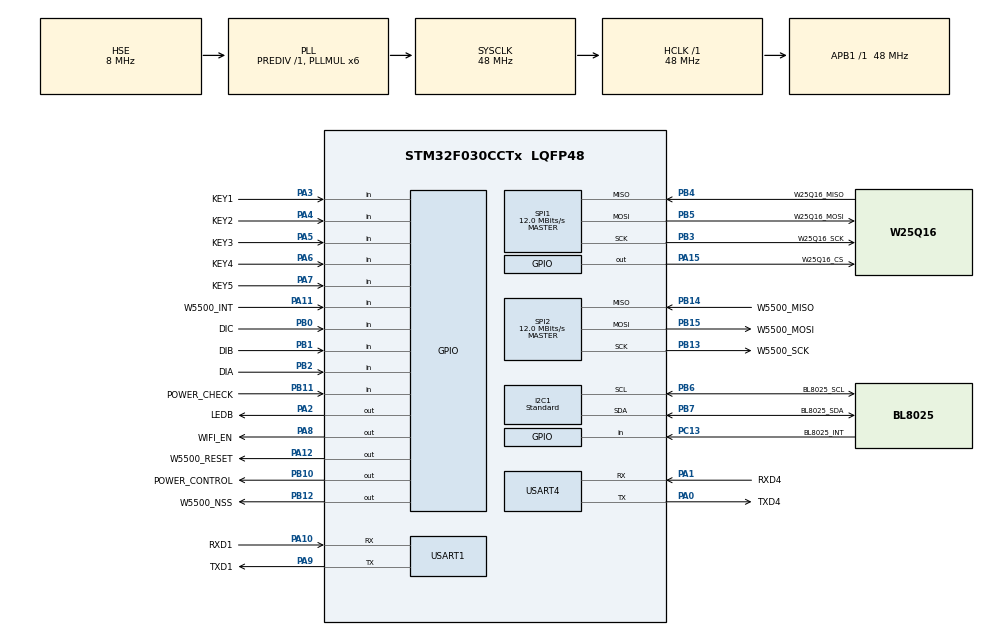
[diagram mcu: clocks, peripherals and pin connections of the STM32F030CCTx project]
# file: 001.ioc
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FREERTOS.INCLUDE_xTaskGetHandle=1
FREERTOS.Mutexes01=AppPrintfMutex,Dynamic,NULL;ReadWriteRegHoldingMutex,Dynamic,NULL;PendingCachePointsMutex,Dynamic,NULL;W25q64Mutex,Dynamic,NULL
FREERTOS.Queues01=netBridgeModbusQueue,8,uint16_t,0,Dynamic,NULL,NULL;wifiSendQueue,16,uint16_t,0,Dynamic,NULL,NULL;w5500SendQueue,16,uint16_t,0,Dynamic,NULL,NULL
FREERTOS.Tasks01=defaultTask,8,256,StartDefaultTask,Default,NULL,Dynamic,NULL,NULL
FREERTOS.configMAX_TASK_NAME_LEN=32
FREERTOS.configMINIMAL_STACK_SIZE=128
FREERTOS.configTIMER_TASK_STACK_DEPTH=128
FREERTOS.configTOTAL_HEAP_SIZE=15360
I2C1.Analog_Filter=I2C_ANALOGFILTER_DISABLE
I2C1.I2C_Speed_Mode=I2C_Standard
I2C1.OwnAddress=0x32
I2C1.Timing=0x00101D2D
Mcu.Family=STM32F0
Mcu.Name=STM32F030CCTx
Mcu.Package=LQFP48
NVIC.TIM6_IRQn=true\:3\:0\:false\:false\:true\:true\:true\:true\:true
NVIC.USART3_6_IRQn=true\:3\:0\:false\:false\:true\:true\:true\:true\:true
PA0.GPIO_Label=TXD4
PA0.Mode=Asynchronous
PA0.Signal=USART4_TX
PA1.GPIO_Label=RXD4
PA1.Mode=Asynchronous
PA1.Signal=USART4_RX
PA10.GPIO_Label=RXD1
PA10.Mode=Asynchronous
PA10.Signal=USART1_RX
PA11.GPIO_Label=W5500_INT
PA11.Signal=GPIO_Input
PA12.GPIO_Label=W5500_RESET
PA12.PinState=GPIO_PIN_SET
PA12.Signal=GPIO_Output
PA13.Mode=Serial_Wire
PA13.Signal=SYS_SWDIO
PA14.Mode=Serial_Wire
PA14.Signal=SYS_SWCLK
PA15.GPIO_Label=W25Q16_CS
PA15.GPIO_PuPd=GPIO_NOPULL
PA15.GPIO_Speed=GPIO_SPEED_FREQ_HIGH
PA15.PinState=GPIO_PIN_SET
PA15.Signal=GPIO_Output
PA2.GPIO_Label=LEDB
PA2.PinState=GPIO_PIN_SET
PA2.Signal=GPIO_Output
PA3.GPIO_Label=KEY1
PA3.Signal=GPIO_Input
PA4.GPIO_Label=KEY2
PA4.Signal=GPIO_Input
PA5.GPIO_Label=KEY3
PA5.Signal=GPIO_Input
PA6.GPIO_Label=KEY4
PA6.Signal=GPIO_Input
PA7.GPIO_Label=KEY5
PA7.Signal=GPIO_Input
PA8.GPIO_Label=WIFI_EN
PA8.Signal=GPIO_Output
PA9.GPIO_Label=TXD1
PA9.Mode=Asynchronous
PA9.Signal=USART1_TX
PB0.GPIO_Label=DIC
PB0.Signal=GPIO_Input
PB1.GPIO_Label=DIB
PB1.Signal=GPIO_Input
PB10.GPIO_Label=POWER_CONTROL
PB10.GPIO_PuPd=GPIO_PULLUP
PB10.PinState=GPIO_PIN_SET
PB10.Signal=GPIO_Output
PB11.GPIO_Label=POWER_CHECK
PB11.Signal=GPIO_Input
PB12.GPIO_Label=W5500_NSS
PB12.PinState=GPIO_PIN_SET
PB12.Signal=GPIO_Output
PB13.GPIO_Label=W5500_SCK
PB13.Mode=Full_Duplex_Master
PB13.Signal=SPI2_SCK
PB14.GPIO_Label=W5500_MISO
PB14.Mode=Full_Duplex_Master
PB14.Signal=SPI2_MISO
PB15.GPIO_Label=W5500_MOSI
PB15.Mode=Full_Duplex_Master
PB15.Signal=SPI2_MOSI
PB2.GPIO_Label=DIA
PB2.Signal=GPIO_Input
PB3.GPIO_Label=W25Q16_SCK
PB3.Mode=Full_Duplex_Master
PB3.Signal=SPI1_SCK
PB4.GPIO_Label=W25Q16_MISO
PB4.Mode=Full_Duplex_Master
PB4.Signal=SPI1_MISO
PB5.GPIO_Label=W25Q16_MOSI
PB5.Mode=Full_Duplex_Master
PB5.Signal=SPI1_MOSI
PB6.GPIO_Label=BL8025_SCL
PB6.GPIO_Pu=GPIO_PULLUP
PB6.Mode=I2C
PB6.Signal=I2C1_SCL
PB7.GPIO_Label=BL8025_SDA
PB7.GPIO_Pu=GPIO_PULLUP
PB7.Mode=I2C
PB7.Signal=I2C1_SDA
PC13.GPIO_Label=BL8025_INT
PC13.GPIO_PuPd=GPIO_NOPULL
PC13.Signal=GPIO_Input
PF0-OSC_IN.Mode=HSE-External-Oscillator
PF0-OSC_IN.Signal=RCC_OSC_IN
PF1-OSC_OUT.Mode=HSE-External-Oscillator
PF1-OSC_OUT.Signal=RCC_OSC_OUT
ProjectManager.HeapSize=0x200
ProjectManager.StackSize=0x400
ProjectManager.TargetToolchain=MDK-ARM V5.32
RCC.AHBFreq_Value=48000000
RCC.APB1Freq_Value=48000000
RCC.APB1TimFreq_Value=48000000
RCC.HCLKFreq_Value=48000000
RCC.PLLMUL=RCC_PLL_MUL6
RCC.PLLSourceVirtual=RCC_PLLSOURCE_HSE
RCC.SYSCLKFreq_VALUE=48000000
RCC.SYSCLKSource=RCC_SYSCLKSOURCE_PLLCLK
SPI1.BaudRatePrescaler=SPI_BAUDRATEPRESCALER_4
SPI1.CLKPhase=SPI_PHASE_2EDGE
SPI1.CLKPolarity=SPI_POLARITY_HIGH
SPI1.CalculateBaudRate=12.0 MBits/s
SPI1.DataSize=SPI_DATASIZE_8BIT
SPI1.Direction=SPI_DIRECTION_2LINES
SPI1.Mode=SPI_MODE_MASTER
SPI1.TIMode=SPI_TIMODE_DISABLE
SPI1.VirtualType=VM_MASTER
SPI2.BaudRatePrescaler=SPI_BAUDRATEPRESCALER_4
SPI2.CLKPhase=SPI_PHASE_2EDGE
SPI2.CLKPolarity=SPI_POLARITY_HIGH
SPI2.CRCCalculation=SPI_CRCCALCULATION_DISABLE
SPI2.CalculateBaudRate=12.0 MBits/s
SPI2.DataSize=SPI_DATASIZE_8BIT
SPI2.Direction=SPI_DIRECTION_2LINES
SPI2.Mode=SPI_MODE_MASTER
SPI2.VirtualType=VM_MASTER
TIM6.AutoReloadPreload=TIM_AUTORELOAD_PRELOAD_ENABLE
TIM6.Period=1000
TIM6.Prescaler=47
USART1.VirtualMode-Asynchronous=VM_ASYNC
USART4.VirtualMode-Asynchronous=VM_ASYNC
VP_FREERTOS_VS_CMSIS_V2.Mode=CMSIS_V2
VP_TIM6_VS_ClockSourceINT.Mode=Enable_Timer
board=custom

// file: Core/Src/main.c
/* USER CODE BEGIN Header */
/**
  ******************************************************************************
  * @file           : main.c
  * @brief          : Main program body
  ******************************************************************************
  * @attention
  *
  * Copyright (c) 2023 STMicroelectronics.
  * All rights reserved.
  *
  * This software is licensed under terms that can be found in the LICENSE file
  * in the root directory of this software component.
  * If no LICENSE file comes with this software, it is provided AS-IS.
  *
  ******************************************************************************
  */
/* USER CODE END Header */
#include "main.h"
#include "cmsis_os.h"
#include "i2c.h"
#include "spi.h"
#include "tim.h"
#include "usart.h"
#include "gpio.h"

/* USER CODE BEGIN Includes */
#include "myinclude.h"
/* USER CODE END Includes */

void SystemClock_Config(void);
void MX_FREERTOS_Init(void);

int main(void)
{

  /* MCU Configuration--------------------------------------------------------*/

  /* Reset of all peripherals, Initializes the Flash interface and the Systick. */
  HAL_Init();

  /* Configure the system clock */
  SystemClock_Config();

  /* Initialize all configured peripherals */
  MX_GPIO_Init();
  MX_USART1_UART_Init();
  MX_USART4_UART_Init();
  MX_SPI2_Init();
  MX_TIM6_Init();
  MX_SPI1_Init();
  MX_I2C1_Init();
  /* USER CODE BEGIN 2 */
  __HAL_RCC_TIM6_CLK_DISABLE();
  globalVariable();//全局变量初始化
  /* USER CODE END 2 */

  /* Init scheduler */
  osKernelInitialize();  /* Call init function for freertos objects (in freertos.c) */
  MX_FREERTOS_Init();

  /* Start scheduler */
  osKernelStart();

  /* We should never get here as control is now taken by the scheduler */
  /* Infinite loop */
  while (1)
  {

  }
}

void SystemClock_Config(void)
{
  RCC_OscInitTypeDef RCC_OscInitStruct = {0};
  RCC_ClkInitTypeDef RCC_ClkInitStruct = {0};
  RCC_PeriphCLKInitTypeDef PeriphClkInit = {0};

  /** Initializes the RCC Oscillators according to the specified parameters
  * in the RCC_OscInitTypeDef structure.
  */
  RCC_OscInitStruct.OscillatorType = RCC_OSCILLATORTYPE_HSI|RCC_OSCILLATORTYPE_HSE;
  RCC_OscInitStruct.HSEState = RCC_HSE_ON;
  RCC_OscInitStruct.HSIState = RCC_HSI_ON;
  RCC_OscInitStruct.HSICalibrationValue = RCC_HSICALIBRATION_DEFAULT;
  RCC_OscInitStruct.PLL.PLLState = RCC_PLL_ON;
  RCC_OscInitStruct.PLL.PLLSource = RCC_PLLSOURCE_HSE;
  RCC_OscInitStruct.PLL.PLLMUL = RCC_PLL_MUL6;
  RCC_OscInitStruct.PLL.PREDIV = RCC_PREDIV_DIV1;
  if (HAL_RCC_OscConfig(&RCC_OscInitStruct) != HAL_OK)
  {
    Error_Handler();
  }

  /** Initializes the CPU, AHB and APB buses clocks
  */
  RCC_ClkInitStruct.ClockType = RCC_CLOCKTYPE_HCLK|RCC_CLOCKTYPE_SYSCLK
                              |RCC_CLOCKTYPE_PCLK1;
  RCC_ClkInitStruct.SYSCLKSource = RCC_SYSCLKSOURCE_PLLCLK;
  RCC_ClkInitStruct.AHBCLKDivider = RCC_SYSCLK_DIV1;
  RCC_ClkInitStruct.APB1CLKDivider = RCC_HCLK_DIV1;

  if (HAL_RCC_ClockConfig(&RCC_ClkInitStruct, FLASH_LATENCY_1) != HAL_OK)
  {
    Error_Handler();
  }
  PeriphClkInit.PeriphClockSelection = RCC_PERIPHCLK_USART1|RCC_PERIPHCLK_I2C1;
  PeriphClkInit.Usart1ClockSelection = RCC_USART1CLKSOURCE_PCLK1;
  PeriphClkInit.I2c1ClockSelection = RCC_I2C1CLKSOURCE_HSI;
  if (HAL_RCCEx_PeriphCLKConfig(&PeriphClkInit) != HAL_OK)
  {
    Error_Handler();
  }
}

void Error_Handler(void)
{
  __disable_irq();
  while (1)
  {
  }
}

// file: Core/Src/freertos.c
/* USER CODE BEGIN Header */
/**
  ******************************************************************************
  * File Name          : freertos.c
  * Description        : Code for freertos applications
  ******************************************************************************
  * @attention
  *
  * Copyright (c) 2023 STMicroelectronics.
  * All rights reserved.
  *
  * This software is licensed under terms that can be found in the LICENSE file
  * in the root directory of this software component.
  * If no LICENSE file comes with this software, it is provided AS-IS.
  *
  ******************************************************************************
  */
/* USER CODE END Header */

#include "FreeRTOS.h"
#include "task.h"
#include "main.h"
#include "cmsis_os.h"

/* USER CODE BEGIN Includes */
#include "myinclude.h"
#include "BL8025.h"
/* USER CODE END Includes */

/* USER CODE BEGIN PTD */

//----------------------------------------------------------------------
//如果我们想看实时剩余堆多大 那么就使能这个 注意这个只在调试的时候使能
//#define  LOOK_FREEMEMORY 1

typedef enum { FAILED = 0, PASSED = !FAILED} TestStatus;

/* 发送缓冲区初始化 */
uint8_t Tx_Buffer[] = "firestm325345gh\r\n";

//TIME_T setTimerStruct={0,15,14,1,3,4,23};

extern TIME_T g_justTimerStruct;
extern TIME_T g_wantSetTimerStruct;

//读取的ID存储位置
__IO uint32_t DeviceID = 0;
__IO uint32_t FlashID = 0;
__IO TestStatus TransferStatus1 = FAILED;

/* USER CODE END PTD */

/* USER CODE BEGIN PD */
void PowerOnAfterReadParameter(void);
void TestClockClear_1000ms(void);
void PowerOnTestDoWith(void);
void readMcuIdForMac(void);
void ClearParameter(void);
//void RemoteIpAndPortShow(void);
/* USER CODE END PD */

/* Definitions for defaultTask */
osThreadId_t defaultTaskHandle;
const osThreadAttr_t defaultTask_attributes = {
  .name = "defaultTask",
  .stack_size = 256 * 4,
  .priority = (osPriority_t) osPriorityLow,
};
/* Definitions for netBridgeModbusQueue */
osMessageQueueId_t netBridgeModbusQueueHandle;
const osMessageQueueAttr_t netBridgeModbusQueue_attributes = {
  .name = "netBridgeModbusQueue"
};
/* Definitions for wifiSendQueue */
osMessageQueueId_t wifiSendQueueHandle;
const osMessageQueueAttr_t wifiSendQueue_attributes = {
  .name = "wifiSendQueue"
};
/* Definitions for w5500SendQueue */
osMessageQueueId_t w5500SendQueueHandle;
const osMessageQueueAttr_t w5500SendQueue_attributes = {
  .name = "w5500SendQueue"
};
/* Definitions for AppPrintfMutex */
osMutexId_t AppPrintfMutexHandle;
const osMutexAttr_t AppPrintfMutex_attributes = {
  .name = "AppPrintfMutex"
};
/* Definitions for ReadWriteRegHoldingMutex */
osMutexId_t ReadWriteRegHoldingMutexHandle;
const osMutexAttr_t ReadWriteRegHoldingMutex_attributes = {
  .name = "ReadWriteRegHoldingMutex"
};
/* Definitions for PendingCachePointsMutex */
osMutexId_t PendingCachePointsMutexHandle;
const osMutexAttr_t PendingCachePointsMutex_attributes = {
  .name = "PendingCachePointsMutex"
};
/* Definitions for W25q64Mutex */
osMutexId_t W25q64MutexHandle;
const osMutexAttr_t W25q64Mutex_attributes = {
  .name = "W25q64Mutex"
};

/* USER CODE BEGIN FunctionPrototypes */
uint8_t read_buffU8[16];
uint16_t read_buffU16[8];
/* USER CODE END FunctionPrototypes */

void StartDefaultTask(void *argument);

void MX_FREERTOS_Init(void); /* (MISRA C 2004 rule 8.1) */

void MX_FREERTOS_Init(void) {
  /* Create the mutex(es) */
  /* creation of AppPrintfMutex */
  AppPrintfMutexHandle = osMutexNew(&AppPrintfMutex_attributes);

  /* creation of ReadWriteRegHoldingMutex */
  ReadWriteRegHoldingMutexHandle = osMutexNew(&ReadWriteRegHoldingMutex_attributes);

  /* creation of PendingCachePointsMutex */
  PendingCachePointsMutexHandle = osMutexNew(&PendingCachePointsMutex_attributes);

  /* creation of W25q64Mutex */
  W25q64MutexHandle = osMutexNew(&W25q64Mutex_attributes);

  /* Create the queue(s) */
  /* creation of netBridgeModbusQueue */
  netBridgeModbusQueueHandle = osMessageQueueNew (8, sizeof(uint16_t), &netBridgeModbusQueue_attributes);

  /* creation of wifiSendQueue */
  wifiSendQueueHandle = osMessageQueueNew (16, sizeof(uint16_t), &wifiSendQueue_attributes);

  /* creation of w5500SendQueue */
  w5500SendQueueHandle = osMessageQueueNew (16, sizeof(uint16_t), &w5500SendQueue_attributes);

  /* Create the thread(s) */
  /* creation of defaultTask */
  defaultTaskHandle = osThreadNew(StartDefaultTask, NULL, &defaultTask_attributes);

}

void StartDefaultTask(void *argument)
{
  /* USER CODE BEGIN StartDefaultTask */
  /* Infinite loop */
    uint8_t weekTemp=0;
    uint8_t clockErr=0;//1=时钟芯片错误
    uint8_t clockErrShowN=0;

    #ifdef  LOOK_FREEMEMORY
    size_t freememory;
    uint8_t n=27;
    #endif

    osDelay(500);

    PowerOnTestDoWith();                //上电判断主电是否上电 采取相应的策略 函数

    readMcuIdForMac();
//    RemoteIpAndPortShow();

    PowerOnAfterReadParameter();       //读取参数如果是0xffff则设置为0 参数 我们这里只指 按键按下时间和ABC三路上升沿次数

    clockErr=bsp_InitRtc();

    App_Printf("$$ Start User Task\r\n");
    COCO_MX_FREERTOS_Init();            //启动其他用户任务

  for(;;)
  {
      HAL_GPIO_WritePin(LEDB_GPIO_Port, LEDB_Pin, GPIO_PIN_RESET);
      osDelay(500);
      HAL_GPIO_WritePin(LEDB_GPIO_Port, LEDB_Pin, GPIO_PIN_SET);
      osDelay(500);

      //----------------------------------------------------------------------
      //看我们分配的总堆栈(configTOTAL_HEAP_SIZE)还剩下多少没用 单位字节
      #ifdef  LOOK_FREEMEMORY
      n++;
      if(30<=n)
      {
          freememory= xPortGetFreeHeapSize();
          App_Printf("$$###### FreeMemory=%d ######\r\n",freememory);
          n=0;
      }
      #endif

      if(0==clockErr)
      {
           if(1==g_writeRX8025TimerFlag)
           {
               g_writeRX8025TimerFlag=0;
               bsp_SetRtcTime(&g_wantSetTimerStruct);
               osDelay(100);
               bsp_GetRtcTime(&g_justTimerStruct);
               weekTemp=bsp_ReadRtcWeekChange(&g_justTimerStruct);
               App_Printf("$$ year=20%d,month=%d,day=%d\r\n",g_justTimerStruct.year,g_justTimerStruct.month,g_justTimerStruct.day);
               App_Printf("$$ H=%d,M=%d,S=%d,Week=%d\r\n",g_justTimerStruct.hour,g_justTimerStruct.minute,g_justTimerStruct.second,weekTemp);
           }
           else
           {
               TestClockClear_1000ms();  //判断是否过了零点 过零点则清零寄存器
           }

      }
      else
      {
          if(0==clockErrShowN)
          {
            App_Printf("$$ Bl8025 is Err...\r\n");

          }
          clockErrShowN++;
          if(10<=clockErrShowN)
          {
            clockErrShowN=0;
          }
      }
      osDelay(1);

    //App_Printf("$$ sw1=%d,sw2=%d,sw3=%d,sw4=%d,sw5=%d\r\n",g_keyStateTalbe[1],g_keyStateTalbe[2],g_keyStateTalbe[3],g_keyStateTalbe[4],g_keyStateTalbe[5]);
    //App_Printf("$$ DIA=%d,DIB=%d,DIC=%d\r\n",g_diNumTalbe[1],g_diNumTalbe[2],g_diNumTalbe[3]);
    //App_Printf("$$ swT1=%d,swT2=%d,swT3=%d,swT4=%d,swT5=%d\r\n",g_keyTimeTalbe[1],g_keyTimeTalbe[2],g_keyTimeTalbe[3],g_keyTimeTalbe[4],g_keyTimeTalbe[5]);

  }
  /* USER CODE END StartDefaultTask */
}

/* USER CODE BEGIN Application */

//-------------------------------------------------------------------
//读mcu全球ID ID有12字节 我们用其后6个字节 来赋值给 W5500 的MAC
void readMcuIdForMac(void)
{
    uint32_t temp32=0;
    temp32=HAL_GetUIDw1();
    g_w5500_mac[0]=(uint8_t)((temp32&0x0000ff00)>>8);
    g_w5500_mac[1]=(uint8_t)((temp32&0x000000ff));
    temp32=HAL_GetUIDw2();
    g_w5500_mac[2]=(uint8_t)((temp32&0xff000000)>>24);
    g_w5500_mac[3]=(uint8_t)((temp32&0x00ff0000)>>16);
    g_w5500_mac[4]=(uint8_t)((temp32&0x0000ff00)>>8);
    g_w5500_mac[5]=(uint8_t)((temp32&0x000000ff));
    App_Printf("\r\n$$*******************************************************\r\n");
    App_Printf("$$###Read Fixed Parameter From W25Q128 ###\r\n");
    App_Printf("$$W5500 MAC=%02X-%02X-%02X-%02X-%02X-%02X\r\n",g_w5500_mac[0],g_w5500_mac[1],g_w5500_mac[2],g_w5500_mac[3],g_w5500_mac[4],g_w5500_mac[5]);
}

////-------------------------------------------------------------------
////网口 写在程序里的 远端IP和端口
//void RemoteIpAndPortShow(void)
//{
//    App_Printf("$$W5500 remote_ip=%d.%d.%d.%d\r\n",g_w5500_remote_ip[0],g_w5500_remote_ip[1],g_w5500_remote_ip[2],g_w5500_remote_ip[3]);
//    App_Printf("$$W5500 remote_port=%d\r\n",g_w5500_remote_port);
//}

//------------------------------------------------------------------
//上电判断主电是否上电 采取相应的策略 函数
void PowerOnTestDoWith(void)
{
    uint8_t i=6;

    #ifndef POWER_BATTERY_MANAGEMENT
    //-----------------------------------------------------------------------------------
    //复位后，如果检测 系统主电还没上电 则原地踏步等待主电上电
    if(GPIO_PIN_SET==HAL_GPIO_ReadPin(POWER_CHECK_GPIO_Port,POWER_CHECK_Pin))
    {
       osDelay(1);
       if(GPIO_PIN_SET==HAL_GPIO_ReadPin(POWER_CHECK_GPIO_Port,POWER_CHECK_Pin))
       {
//           App_Printf("$$ POWEN DOWN,LET/'s marking time...\r\n");
           while(GPIO_PIN_SET==HAL_GPIO_ReadPin(POWER_CHECK_GPIO_Port,POWER_CHECK_Pin))
           {
               while(GPIO_PIN_SET==HAL_GPIO_ReadPin(POWER_CHECK_GPIO_Port,POWER_CHECK_Pin))
               {
                    //-----------------------------------------------------------------------------------
                    //原地踏步小灯指示 每2s 短闪烁一次
                    HAL_GPIO_WritePin(LEDB_GPIO_Port, LEDB_Pin, GPIO_PIN_RESET);
                    osDelay(100);
                    HAL_GPIO_WritePin(LEDB_GPIO_Port, LEDB_Pin, GPIO_PIN_SET);
                    i=0;
                    while(200>=i)
                    {
                        i++;
                        if(GPIO_PIN_SET==HAL_GPIO_ReadPin(POWER_CHECK_GPIO_Port,POWER_CHECK_Pin))
                        {
                            osDelay(10);
                        }
                        else
                        {
                            i=220;
                        }
                    }
               }
               osDelay(100);
           }
           osDelay(100);

           //-----------------------------------------------------------------------------------
           //主电上电 系统复位
           App_Printf("$$ Let MCU Rsset\r\n");

           taskENTER_CRITICAL();
           HAL_NVIC_SystemReset();
           taskEXIT_CRITICAL();
       }
    }
    #endif

    App_Printf("$$ Power on\r\n");
    //-----------------------------------------------------------------------------------
    //主电上电 小灯强亮 快速闪烁6次
    i=6;
    while(i--)
    {
        HAL_GPIO_WritePin(LEDB_GPIO_Port, LEDB_Pin, GPIO_PIN_RESET);
        osDelay(40);
        HAL_GPIO_WritePin(LEDB_GPIO_Port, LEDB_Pin, GPIO_PIN_SET);
        osDelay(15);
    }

}

//------------------------------------------------------------------
//参数 我们这里只指 按键按下时间和ABC三路上升沿次数
//0=读取参数如果是0xffff则设置为0
//1=所有参数都设置为0
//readOutOrWrite0Flag  0=读出  1=全部写0
void PowerOnAfterReadParameter(void)
{

    uint8_t m;
//    uint8_t clearFlag=0;//1=发生了断电 读完参后 我清零
    uint8_t table[30];

    //##############################################################################################
    //互斥操作
    osMutexAcquire(W25q64MutexHandle, osWaitForever);   //一直等待获取互斥资源
    W25Q128_Read(&table[0],WQ_PAGE_DEFAULT,1);
    osMutexRelease(W25q64MutexHandle);                  //释放互斥资源
    //##############################################################################################
    if(FIRST_PARAAMETER==table[0])
    {
        App_Printf("\r\n$$------------------------------------------------\r\n");
        App_Printf("$$###Read Parameter From W25Q128 ###\r\n");
        //##############################################################################################
        //互斥操作
        osMutexAcquire(W25q64MutexHandle, osWaitForever);   //一直等待获取互斥资源
        W25Q128_TypeTest();
        W25Q128_Read(&read_buffU8[0],WQ_PAGE_SW5ROAD3,16);
        osMutexRelease(W25q64MutexHandle);                  //释放互斥资源
        //##############################################################################################

        for(m=0;m<16;)
        {
            read_buffU16[m/2]=read_buffU8[m];
            read_buffU16[m/2]<<=8;
            m++;
            read_buffU16[m/2]+=read_buffU8[m];
            if(0xffff==read_buffU16[m/2])
            {
                App_Printf("$$ read_buffU16[%d] clear 0 \r\n",m/2);
                read_buffU16[m/2]=0;
            }
//            else
//            {
//                clearFlag=1;
//            }
            m++;
        }

//        if(1==clearFlag)
//        {
//            clearFlag=0;
//            //##############################################################################################
//            //互斥操作
//            osMutexAcquire(W25q64MutexHandle, osWaitForever);   //一直等待获取互斥资源
//            W25Q128_Erase_Sector(WQ_PAGE_SW5ROAD3);
//            osMutexRelease(W25q64MutexHandle);                  //释放互斥资源
//            //##############################################################################################
//        }

        App_Printf("$$ ABC:\r\n");
        for(m=0;m<3;m++)
        {
            App_Printf("0x%04X-",read_buffU16[m]);
        }
        App_Printf("\r\n");

        App_Printf("$$ sw timer:\r\n");
         for(m=3;m<8;m++)
        {
            App_Printf("0x%04X-",read_buffU16[m]);
        }
        App_Printf("\r\n");

        //##############################################################################################
        //互斥操作
        osMutexAcquire(ReadWriteRegHoldingMutexHandle, osWaitForever);   //一直等待获取互斥资源
        for(m=0;m<3;m++)
        {
            g_diNumTalbe[m+1]=read_buffU16[m];
            usRegHoldingBuf[m+5]=read_buffU16[m];
        }
        for(m=3;m<8;m++)
        {
            g_keyTimeTalbe[m-2]=read_buffU16[m];
            usRegHoldingBuf[m+5]=read_buffU16[m];
        }
        osMutexRelease(ReadWriteRegHoldingMutexHandle);                  //释放互斥资源
        //##############################################################################################

        //##############################################################################################
        //互斥操作
        osMutexAcquire(W25q64MutexHandle, osWaitForever);   //一直等待获取互斥资源
        W25Q128_Read(&table[0],WQ_PAGE_W5500_IP,4);
        for(m=0;m<4;m++)
        {
            g_w5500_local_ip[m]=table[m];
        }

        W25Q128_Read(&table[0],WQ_PAGE_W5500_SN,4);
        for(m=0;m<4;m++)
        {
            g_w5500_subnet[m]=table[m];
        }

        W25Q128_Read(&table[0],WQ_PAGE_W5500_GW,4);
        for(m=0;m<4;m++)
        {
            g_w5500_gateway[m]=table[m];
        }

        W25Q128_Read(&table[0],WQ_PAGE_W5500_ENNO,1);
        if(0==table[0])
        {
            g_w5500EnFlag=0;
        }
        else
        {
            g_w5500EnFlag=1;
        }

        //---------------------------------------------------
        //wifi apid 不超过8位
        W25Q128_Read(&table[0],WQ_PAGE_WIFI_APID,9);
        for(m=0;m<9;m++)
        {
            if(0xff==table[m])
            {
                table[m]=0;
            }
        }
        table[8]=0;
        strcpy(g_wifi_ap_sidd_temp,(const char*)&table[0]);

        //---------------------------------------------------
        //wifi apkey 等于8位
        W25Q128_Read(&table[0],WQ_PAGE_WIFI_APKEY,9);
        for(m=0;m<9;m++)
        {
            if(0xff==table[m])
            {
                table[m]=0;
            }
        }
        table[8]=0;
        strcpy(g_wifi_ap_password_temp,(const char*)&table[0]);

        W25Q128_Read(&table[0],WQ_PAGE_WIFI_AP_IP,4);
        for(m=0;m<4;m++)
        {
            g_wifi_ap_ip_temp[m]=table[m];
        }

        W25Q128_Read(&table[0],WQ_PAGE_WIFI_AP_SN,4);
        for(m=0;m<4;m++)
        {
            g_wifi_ap_sn_temp[m]=table[m];
        }

        W25Q128_Read(&table[0],WQ_PAGE_WIFI_AP_GW,4);
        for(m=0;m<4;m++)
        {
            g_wifi_ap_gw_temp[m]=table[m];
        }

        //---------------------------------------------------
        //wifi staid 不超过25位
        W25Q128_Read(&table[0],WQ_PAGE_WIFI_STASSID,26);
        for(m=0;m<25;m++)
        {
            if(0xff==table[m])
            {
                table[m]=0;
            }
        }
        table[25]=0;
        strcpy(g_wifi_sta_sidd_temp,(const char*)&table[0]);

        //---------------------------------------------------
        //wifi stakey 不超过12位
        W25Q128_Read(&table[0],WQ_PAGE_WIFI_STAKEY,13);
        for(m=0;m<12;m++)
        {
            if(0xff==table[m])
            {
                table[m]=0;
            }
        }
        table[12]=0;
        strcpy(g_wifi_sta_password_temp,(const char*)&table[0]);

        W25Q128_Read(&table[0],WQ_PAGE_WIFI_STA_IP,4);
        for(m=0;m<4;m++)
        {
            g_wifi_sta_ip_temp[m]=table[m];
        }

        W25Q128_Read(&table[0],WQ_PAGE_WIFI_STA_SN,4);
        for(m=0;m<4;m++)
        {
            g_wifi_sta_sn_temp[m]=table[m];
        }

        W25Q128_Read(&table[0],WQ_PAGE_WIFI_STA_GW,4);
        for(m=0;m<4;m++)
        {
            g_wifi_sta_gw_temp[m]=table[m];
        }

//        //---------------------------------------------------
//        //wifi reip
//        W25Q128_Read(&table[0],WQ_PAGE_WIFI_REIP,4);
//        for(m=0;m<4;m++)
//        {
//            g_wifi_sta_sever_ip_temp[m]=table[m];
//        }

        //---------------------------------------------------
        //wifi  report不超过5位
        W25Q128_Read(&table[0],WQ_PAGE_WIFI_REPORT,6);
        for(m=0;m<5;m++)
        {
            if(0xff==table[m])
            {
                table[m]=0;
            }
        }
        table[5]=0;
        strcpy(g_wifi_sta_sever_port_temp,(const char*)&table[0]);

        W25Q128_Read(&table[0],WQ_PAGE_WIFI_ENNO,1);
        if(0==table[0])
        {
            g_wifiEnFlag=0;
        }
        else
        {
            g_wifiEnFlag=1;
        }

        W25Q128_Read(&table[0],WQ_PAGE_WIFI_DHCP_ENNO,1);
        if(0==table[0])
        {
            g_dhcpip_staticip_flag=0;
        }
        else
        {
            g_dhcpip_staticip_flag=1;
        }

        osMutexRelease(W25q64MutexHandle);                  //释放互斥资源
        //##############################################################################################

        if((0==g_w5500EnFlag)&&(0==g_wifiEnFlag))
        {
            g_w5500EnFlag=1;
        }
    }
    else
    {
        App_Printf("\r\n$$------------------------------------------------\r\n");
        App_Printf("$$###First Wirst Default Parameter For W25Q128 ###\r\n");
        g_w5500_local_ip[0]  =192;
        g_w5500_local_ip[1]  =168;
        g_w5500_local_ip[2]  =0;
        g_w5500_local_ip[3]  =88;

        g_w5500_subnet[0]=255;
        g_w5500_subnet[1]=255;
        g_w5500_subnet[2]=255;
        g_w5500_subnet[3]=0;

        g_w5500_gateway[0]=192;
        g_w5500_gateway[1]=168;
        g_w5500_gateway[2]=0;
        g_w5500_gateway[3]=1;

        g_w5500EnFlag=1;

        strcpy(g_wifi_ap_sidd_temp,"MHAUTO_6");
        strcpy(g_wifi_ap_password_temp,"12345678");
        g_wifi_ap_ip_temp[0]=192;
        g_wifi_ap_ip_temp[1]=168;
        g_wifi_ap_ip_temp[2]=1;
        g_wifi_ap_ip_temp[3]=1;

        g_wifi_ap_sn_temp[0]=255;
        g_wifi_ap_sn_temp[1]=255;
        g_wifi_ap_sn_temp[2]=255;
        g_wifi_ap_sn_temp[3]=0;

        g_wifi_ap_gw_temp[0]=192;
        g_wifi_ap_gw_temp[1]=168;
        g_wifi_ap_gw_temp[2]=1;
        g_wifi_ap_gw_temp[3]=1;

        strcpy(g_wifi_sta_sidd_temp,"HONOR990");
        strcpy(g_wifi_sta_password_temp,"123400789");
        g_wifi_sta_ip_temp[0]=192;
        g_wifi_sta_ip_temp[1]=168;
        g_wifi_sta_ip_temp[2]=43;
        g_wifi_sta_ip_temp[3]=2;

        g_wifi_sta_sn_temp[0]=255;
        g_wifi_sta_sn_temp[1]=255;
        g_wifi_sta_sn_temp[2]=255;
        g_wifi_sta_sn_temp[3]=0;

        g_wifi_sta_gw_temp[0]=192;
        g_wifi_sta_gw_temp[1]=168;
        g_wifi_sta_gw_temp[2]=43;
        g_wifi_sta_gw_temp[3]=1;

//        g_wifi_sta_sever_ip_temp[0]=192;
//        g_wifi_sta_sever_ip_temp[1]=168;
//        g_wifi_sta_sever_ip_temp[2]=43;
//        g_wifi_sta_sever_ip_temp[3]=52;
        strcpy(g_wifi_sta_sever_port_temp,"6800");

        g_dhcpip_staticip_flag=1;

        g_wifiEnFlag=1;

        //##############################################################################################
        //互斥操作
        osMutexAcquire(W25q64MutexHandle, osWaitForever);   //一直等待获取互斥资源

        W25Q128_Erase_Sector(WQ_PAGE_W5500_IP);
        W25Q128_Write(&g_w5500_local_ip[0],WQ_PAGE_W5500_IP,4);

        W25Q128_Erase_Sector(WQ_PAGE_W5500_SN);
        W25Q128_Write(&g_w5500_subnet[0],WQ_PAGE_W5500_SN,4);

        W25Q128_Erase_Sector(WQ_PAGE_W5500_GW);
        W25Q128_Write(&g_w5500_gateway[0],WQ_PAGE_W5500_GW,4);

        W25Q128_Erase_Sector(WQ_PAGE_W5500_ENNO);
        W25Q128_Write(&g_w5500EnFlag,WQ_PAGE_W5500_ENNO,g_w5500EnFlag);

        W25Q128_Erase_Sector(WQ_PAGE_WIFI_APID);
        W25Q128_Write((uint8_t*)&g_wifi_ap_sidd_temp[0],WQ_PAGE_WIFI_APID,strlen(&g_wifi_ap_sidd_temp[0])+1);
        W25Q128_Erase_Sector(WQ_PAGE_WIFI_APKEY);
        W25Q128_Write((uint8_t*)&g_wifi_ap_password_temp[0],WQ_PAGE_WIFI_APKEY,strlen(&g_wifi_ap_password_temp[0])+1);
        W25Q128_Erase_Sector(WQ_PAGE_WIFI_AP_IP);
        W25Q128_Write((uint8_t*)&g_wifi_ap_ip_temp[0],WQ_PAGE_WIFI_AP_IP,4);
        W25Q128_Erase_Sector(WQ_PAGE_WIFI_AP_SN);
        W25Q128_Write((uint8_t*)&g_wifi_ap_sn_temp[0],WQ_PAGE_WIFI_AP_SN,4);
        W25Q128_Erase_Sector(WQ_PAGE_WIFI_AP_GW);
        W25Q128_Write((uint8_t*)&g_wifi_ap_gw_temp[0],WQ_PAGE_WIFI_AP_GW,4);

        W25Q128_Erase_Sector(WQ_PAGE_WIFI_STASSID);
        W25Q128_Write((uint8_t*)&g_wifi_sta_sidd_temp[0],WQ_PAGE_WIFI_STASSID,strlen(&g_wifi_sta_sidd_temp[0])+1);
        W25Q128_Erase_Sector(WQ_PAGE_WIFI_STAKEY);
        W25Q128_Write((uint8_t*)&g_wifi_sta_password_temp[0],WQ_PAGE_WIFI_STAKEY,strlen(&g_wifi_sta_password_temp[0])+1);

        W25Q128_Erase_Sector(WQ_PAGE_WIFI_STA_IP);
        W25Q128_Write((uint8_t*)&g_wifi_sta_ip_temp[0],WQ_PAGE_WIFI_STA_IP,4);
        W25Q128_Erase_Sector(WQ_PAGE_WIFI_STA_SN);
        W25Q128_Write((uint8_t*)&g_wifi_sta_sn_temp[0],WQ_PAGE_WIFI_STA_SN,4);
        W25Q128_Erase_Sector(WQ_PAGE_WIFI_STA_GW);
        W25Q128_Write((uint8_t*)&g_wifi_sta_gw_temp[0],WQ_PAGE_WIFI_STA_GW,4);

//        W25Q128_Erase_Sector(WQ_PAGE_WIFI_REIP);
//        W25Q128_Write((uint8_t*)&g_wifi_sta_sever_ip_temp[0],WQ_PAGE_WIFI_REIP,4);
        W25Q128_Erase_Sector(WQ_PAGE_WIFI_REPORT);
        W25Q128_Write((uint8_t*)&g_wifi_sta_sever_port_temp[0],WQ_PAGE_WIFI_REPORT,strlen(&g_wifi_sta_sever_port_temp[0])+1);

        W25Q128_Erase_Sector(WQ_PAGE_WIFI_ENNO);
        W25Q128_Write(&g_wifiEnFlag,WQ_PAGE_WIFI_ENNO,1);

        W25Q128_Erase_Sector(WQ_PAGE_WIFI_DHCP_ENNO);
        W25Q128_Write(&g_dhcpip_staticip_flag,WQ_PAGE_WIFI_DHCP_ENNO,1);

        table[0]=FIRST_PARAAMETER;
        W25Q128_Erase_Sector(WQ_PAGE_DEFAULT);
        W25Q128_Write(&table[0],WQ_PAGE_DEFAULT,1);

        osMutexRelease(W25q64MutexHandle);                  //释放互斥资源
        //##############################################################################################

        //-------------------------------------------------------------------------------------------------------------------
        //以下不属于默认参数操作 勿动
        //##############################################################################################
        //互斥操作
        osMutexAcquire(W25q64MutexHandle, osWaitForever);   //一直等待获取互斥资源
        W25Q128_TypeTest();
        W25Q128_Read(&read_buffU8[0],WQ_PAGE_SW5ROAD3,16);
        osMutexRelease(W25q64MutexHandle);                  //释放互斥资源
        //##############################################################################################
        for(m=0;m<16;m++)
        {
            if(0xff==read_buffU8[m])
            {
               ;
            }
            else
            {
               m=100;
            }
        }
        if(99<=m)
        {
            App_Printf("$$clear HoldingBuf\r\n");
            for(m=0;m<8;m++)
            {
               read_buffU16[m]=0;
            }
            //##############################################################################################
            //互斥操作
            osMutexAcquire(W25q64MutexHandle, osWaitForever);   //一直等待获取互斥资源
            W25Q128_Erase_Sector(WQ_PAGE_SW5ROAD3);
            osMutexRelease(W25q64MutexHandle);                  //释放互斥资源
            //##############################################################################################
        }
        else
        {
            for(m=0;m<8;m++)
            {
               read_buffU16[m]=0;
            }
            App_Printf("$$HoldingBuf already clear\r\n");
        }

        //##############################################################################################
        //互斥操作
        osMutexAcquire(ReadWriteRegHoldingMutexHandle, osWaitForever);   //一直等待获取互斥资源
        for(m=0;m<3;m++)
        {
            g_diNumTalbe[m+1]=read_buffU16[m];
            usRegHoldingBuf[m+5]=read_buffU16[m];
        }
        for(m=3;m<8;m++)
        {
            g_keyTimeTalbe[m-2]=read_buffU16[m];
            usRegHoldingBuf[m+5]=read_buffU16[m];
        }
        osMutexRelease(ReadWriteRegHoldingMutexHandle);                  //释放互斥资源
        //##############################################################################################

    }

    //---------------------------------------------------------------------------------------------------------------------------------------------------------------
    //串口打印当前参数
    App_Printf("\r\n$$-----------------------W5500--------------------\r\n");
    App_Printf("W5500 IP=%d.%d.%d.%d\r\n",g_w5500_local_ip[0],g_w5500_local_ip[1],g_w5500_local_ip[2],g_w5500_local_ip[3]);
    App_Printf("W5500 SN=%d.%d.%d.%d\r\n",g_w5500_subnet[0],g_w5500_subnet[1],g_w5500_subnet[2],g_w5500_subnet[3]);
    App_Printf("W5500 GW=%d.%d.%d.%d\r\n",g_w5500_gateway[0],g_w5500_gateway[1],g_w5500_gateway[2],g_w5500_gateway[3]);

    if(1==g_w5500EnFlag)
    {
        App_Printf("###W5500 is EN###\r\n");
    }
    else
    {
        App_Printf("###W5500 is NO###\r\n");
    }
    App_Printf("\r\n$$------------------------WIFI---------------------\r\n");
    App_Printf("WIFI apid=%s\r\n",g_wifi_ap_sidd_temp);
    App_Printf("WIFI apkey=%s\r\n",g_wifi_ap_password_temp);
    App_Printf("WIFI APIP=%d.%d.%d.%d\r\n",g_wifi_ap_ip_temp[0],g_wifi_ap_ip_temp[1],g_wifi_ap_ip_temp[2],g_wifi_ap_ip_temp[3]);
    App_Printf("WIFI APSN=%d.%d.%d.%d\r\n",g_wifi_ap_sn_temp[0],g_wifi_ap_sn_temp[1],g_wifi_ap_sn_temp[2],g_wifi_ap_sn_temp[3]);
    App_Printf("WIFI APGW=%d.%d.%d.%d\r\n",g_wifi_ap_gw_temp[0],g_wifi_ap_gw_temp[1],g_wifi_ap_gw_temp[2],g_wifi_ap_gw_temp[3]);

    App_Printf("WIFI staid=%s\r\n",g_wifi_sta_sidd_temp);
    App_Printf("WIFI stakey=%s\r\n",g_wifi_sta_password_temp);
    App_Printf("WIFI STAIP=%d.%d.%d.%d\r\n",g_wifi_sta_ip_temp[0],g_wifi_sta_ip_temp[1],g_wifi_sta_ip_temp[2],g_wifi_sta_ip_temp[3]);
    App_Printf("WIFI STASN=%d.%d.%d.%d\r\n",g_wifi_sta_sn_temp[0],g_wifi_sta_sn_temp[1],g_wifi_sta_sn_temp[2],g_wifi_sta_sn_temp[3]);
    App_Printf("WIFI STAGW=%d.%d.%d.%d\r\n",g_wifi_sta_gw_temp[0],g_wifi_sta_gw_temp[1],g_wifi_sta_gw_temp[2],g_wifi_sta_gw_temp[3]);

    //App_Printf("WIFI REIP=%d.%d.%d.%d\r\n",g_wifi_sta_sever_ip_temp[0],g_wifi_sta_sever_ip_temp[1],g_wifi_sta_sever_ip_temp[2],g_wifi_sta_sever_ip_temp[3]);
    App_Printf("WIFI REPORT=%s\r\n",g_wifi_sta_sever_port_temp);

    if(1==g_wifiEnFlag)
    {
        App_Printf("###WIFI is EN###\r\n");
    }
    else
    {
        App_Printf("###WIFI is NO###\r\n");
    }
    App_Printf("$$********READ********W25Q128********END********\r\n\r\n");
}

//----------------------------------------------------------------------------------------------------------------
//1=过了0点 要清零 时间在0:00~0:01分之间 注意如果清零了 要等2分钟后再检测
void TestClockClear_1000ms(void)
{
    uint8_t weekTemp;
    static uint8_t clearFlag=0;
    static uint16_t clearN=0;
    static uint16_t n=0;

    while(1==g_readingRX8025TimerFlag)
    {
        osDelay(10);
    }
    g_readingRX8025TimerFlag=1;
    bsp_GetRtcTime(&g_justTimerStruct);
    g_readingRX8025TimerFlag=0;
    n++;

    if(30<=n)
    {
        weekTemp= bsp_ReadRtcWeekChange(&g_justTimerStruct);

        App_Printf("$$ year=20%d,month=%d,day=%d\r\n",g_justTimerStruct.year,g_justTimerStruct.month,g_justTimerStruct.day);
        App_Printf("$$ H=%d,M=%d,S=%d,Week=%d\r\n",g_justTimerStruct.hour,g_justTimerStruct.minute,g_justTimerStruct.second,weekTemp);
        n=0;
    }

    if(0==clearFlag)
    {
        if((0==g_justTimerStruct.hour)&&(0==g_justTimerStruct.minute))
        {
            ClearParameter();
            App_Printf("$$ ##########0:00 let/'s clear Parameter#########\r\n");
            clearFlag=1;
            clearN=0;
        }
    }
    else
    {
        clearN++;
        if(120<clearN)
        {
            clearFlag=0;
            clearN=0;
        }
    }
}

//-------------------------------------------------------------------------------------------------------------
//零点了,清零各个参数
void ClearParameter(void)
{
    uint8_t read_buffU8[20];
    uint16_t read_buffU16[10];
    uint8_t m;
    uint8_t clearFlag=1;//1=flash区已经都是0xffff或者0 不用flash级别擦除了

    //##############################################################################################
    //互斥操作
    osMutexAcquire(ReadWriteRegHoldingMutexHandle, osWaitForever);   //一直等待获取互斥资源
    for(m=0;m<16;m++)
    {
    //save_Buffer[m]=0;
        usRegHoldingBuf[m]=0;
    }
    for(m=1;m<=5;m++)
    {
        //g_keyStateTalbe[m]=0;
        g_keyTimeTalbe[m]=0;
    }
    for(m=1;m<=3;m++)
    {
        g_diNumTalbe[m]=0;
    }

    osMutexRelease(ReadWriteRegHoldingMutexHandle);                  //释放互斥资源
    //##############################################################################################

    osDelay(1);

    //##############################################################################################
    //互斥操作
    osMutexAcquire(W25q64MutexHandle, osWaitForever);   //一直等待获取互斥资源
    W25Q128_Read(&read_buffU8[0],WQ_PAGE_SW5ROAD3,16);
    osMutexRelease(W25q64MutexHandle);                  //释放互斥资源
    //##############################################################################################

    for(m=0;m<16;)
    {
        read_buffU16[m/2]=read_buffU8[m];
        read_buffU16[m/2]<<=8;
        m++;
        read_buffU16[m/2]+=read_buffU8[m];
        if((0xffff==read_buffU16[m/2])||(0x00==read_buffU16[m/2]))
        {
            ;
        }
        else
        {
            clearFlag=0;
        }
        m++;
    }

    osDelay(1);

    if(0==clearFlag)//flash区不都为0或者0xff
    {
        //##############################################################################################
        //互斥操作
        osMutexAcquire(W25q64MutexHandle, osWaitForever);   //一直等待获取互斥资源
        W25Q128_Erase_Sector(WQ_PAGE_SW5ROAD3);             //擦除即可 上电判断是0xffff 就会转为0
        osMutexRelease(W25q64MutexHandle);                  //释放互斥资源
        //##############################################################################################
    }
}

/* USER CODE END Application */
